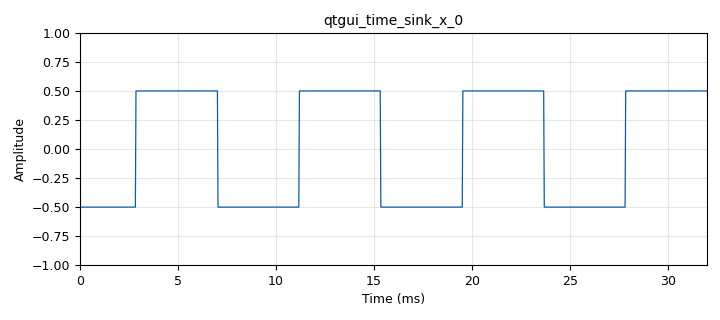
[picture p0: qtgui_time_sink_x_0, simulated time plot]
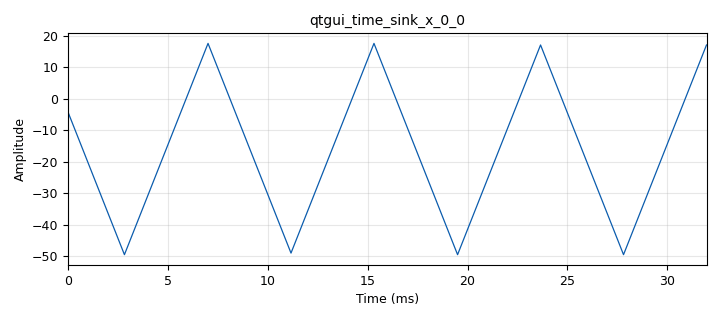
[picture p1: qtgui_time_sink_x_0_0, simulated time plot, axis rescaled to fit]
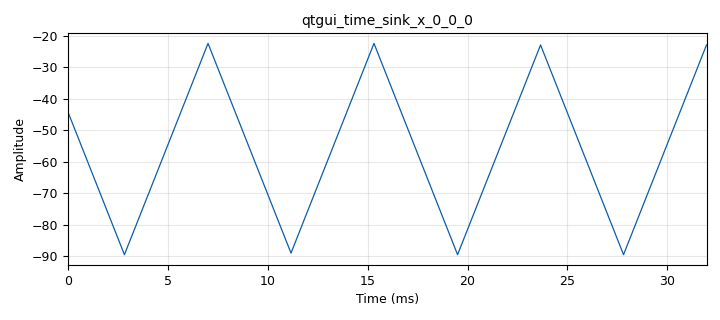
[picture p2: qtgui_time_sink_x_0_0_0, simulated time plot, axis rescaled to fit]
options:
  parameters:
    generate_options: qt_gui
    id: untitled
    output_language: python
    title: Not titled yet
  states: {}

blocks:
- name: samp_rate
  id: variable
  parameters:
    value: '32000'
  states: {}
- name: Media_b
  id: qtgui_number_sink
  parameters:
    graph_type: qtgui.NUM_GRAPH_HORIZ
    name: Media
    type: float
  states: {}
- name: Media_b_0
  id: qtgui_number_sink
  parameters:
    graph_type: qtgui.NUM_GRAPH_HORIZ
    name: Media
    type: float
  states: {}
- name: Media_b_1
  id: qtgui_number_sink
  parameters:
    graph_type: qtgui.NUM_GRAPH_HORIZ
    name: Media
    type: float
  states: {}
- name: analog_sig_source_x_0
  id: analog_sig_source_x
  parameters:
    amp: '1'
    freq: '120'
    offset: '-0.5'
    phase: '0'
    samp_rate: samp_rate
    type: float
    waveform: analog.GR_SQR_WAVE
  states: {}
- name: blocks_throttle2_0
  id: blocks_throttle2
  parameters:
    samples_per_second: samp_rate
    type: float
  states: {}
- name: epy_block_0
  id: epy_block
  parameters:
    _source_code: |-
      import numpy as np
      from gnuradio import gr

      class blk(gr.sync_block): 
          def __init__(self, example_param=1.0):
              gr.sync_block.__init__(
                  self,
                  name='e_Acum',
                  in_sig=[np.float32],
                  out_sig=[np.float32]
              )
          
          def work(self,input_items,output_items):
              x = input_items[0]  
              y0 = output_items[0]  

              y0[:] = np.cumsum(x)

              return len(y0)
    example_param: '1.0'
  states: {}
- name: epy_block_1
  id: epy_block
  parameters:
    _source_code: |-
      import numpy as np
      from gnuradio import gr

      class blk(gr.sync_block): 

          def __init__(self, example_param=2.0):
              gr.sync_block.__init__(
                  self,
                  name='e_Diff',
                  in_sig=[np.float32],
                  out_sig=[np.float32]
              )
              self.e_Acum = 0

          def work(self,input_items,output_items):
              x = input_items[0]  
              y0 = output_items[0]  
              N = len(x)
              diff = np.cumsum(x) - self.e_Acum 
              self.e_Acum = diff[N-1]
              y0[:] = diff 
              return len(y0)
    example_param: '2.0'
  states: {}
- name: epy_block_2
  id: epy_block
  parameters:
    _source_code: |
      import numpy as np
      from gnuradio import gr


      class blk(gr.sync_block):
          def __init__(self, example_param=3.0):
              gr.sync_block.__init__(
                  self,
                  name='Primedios_de_tiempo',
                  in_sig = [np.float32],
                  out_sig = [np.float32,np.float32,np.float32,np.float32,np.float32]
              )
              self.acum_anterior = 0
              self.Ntotales = 0
              self.acum_anterior1 = 0
              self.acum_anterior2 = 0

          def work(self, input_items, output_items):
              x = input_items[0]
              y0 = output_items[0]
              y1 = output_items[1]
              y2 = output_items[2]
              y3 = output_items[3]
              y4 = output_items[4]

              # Calculo del p r o m e d i o

              N = len( x )
              self.Ntotales = self.Ntotales + N
              acumulado = self.acum_anterior + np.cumsum ( x )
              self.acum_anterior = acumulado[N -1]
              y0[:]= acumulado / self.Ntotales

              # Calculo de la media c u a d r a t i c a
              x2 = np.multiply(x , x )
              acumulado1 = self.acum_anterior1 + np.cumsum(x2)
              self.acum_anterior1 = acumulado[N -1]
              y1[:] = acumulado1 / self.Ntotales

              # Calculo de la RMS
              y2[:] = np.sqrt(y1)

              # Calculo de la p o t e n c i a p r o m e d i o
              y3[:] = np.multiply( y2 , y2 )

              # Calculo de la d e s v i a c i o n e s t a n d a r
              x3 = np.multiply(x - y0 ,x - y0 )
              acumulado2 = self.acum_anterior2 + np.cumsum( x3 )
              self.acum_anterior2 = acumulado2[N -1]
              y4[:] = np.sqrt( acumulado2 / self.Ntotales )

              return len( x )
    example_param: '3.0'
  states: {}
- name: epy_block_2_0
  id: epy_block
  parameters:
    _source_code: |
      import numpy as np
      from gnuradio import gr


      class blk(gr.sync_block):
          def __init__(self, example_param=3.0):
              gr.sync_block.__init__(
                  self,
                  name='Primedios_de_tiempo',
                  in_sig = [np.float32],
                  out_sig = [np.float32,np.float32,np.float32,np.float32,np.float32]
              )
              self.acum_anterior = 0
              self.Ntotales = 0
              self.acum_anterior1 = 0
              self.acum_anterior2 = 0

          def work(self, input_items, output_items):
              x = input_items[0]
              y0 = output_items[0]
              y1 = output_items[1]
              y2 = output_items[2]
              y3 = output_items[3]
              y4 = output_items[4]

              # Calculo del p r o m e d i o

              N = len( x )
              self.Ntotales = self.Ntotales + N
              acumulado = self.acum_anterior + np.cumsum ( x )
              self.acum_anterior = acumulado[N -1]
              y0[:]= acumulado / self.Ntotales

              # Calculo de la media c u a d r a t i c a
              x2 = np.multiply(x , x )
              acumulado1 = self.acum_anterior1 + np.cumsum(x2)
              self.acum_anterior1 = acumulado[N -1]
              y1[:] = acumulado1 / self.Ntotales

              # Calculo de la RMS
              y2[:] = np.sqrt(y1)

              # Calculo de la p o t e n c i a p r o m e d i o
              y3[:] = np.multiply( y2 , y2 )

              # Calculo de la d e s v i a c i o n e s t a n d a r
              x3 = np.multiply(x - y0 ,x - y0 )
              acumulado2 = self.acum_anterior2 + np.cumsum( x3 )
              self.acum_anterior2 = acumulado2[N -1]
              y4[:] = np.sqrt( acumulado2 / self.Ntotales )

              return len( x )
    example_param: '3.0'
  states: {}
- name: epy_block_2_1
  id: epy_block
  parameters:
    _source_code: |
      import numpy as np
      from gnuradio import gr


      class blk(gr.sync_block):
          def __init__(self, example_param=3.0):
              gr.sync_block.__init__(
                  self,
                  name='Primedios_de_tiempo',
                  in_sig = [np.float32],
                  out_sig = [np.float32,np.float32,np.float32,np.float32,np.float32]
              )
              self.acum_anterior = 0
              self.Ntotales = 0
              self.acum_anterior1 = 0
              self.acum_anterior2 = 0

          def work(self, input_items, output_items):
              x = input_items[0]
              y0 = output_items[0]
              y1 = output_items[1]
              y2 = output_items[2]
              y3 = output_items[3]
              y4 = output_items[4]

              # Calculo del p r o m e d i o

              N = len( x )
              self.Ntotales = self.Ntotales + N
              acumulado = self.acum_anterior + np.cumsum ( x )
              self.acum_anterior = acumulado[N -1]
              y0[:]= acumulado / self.Ntotales

              # Calculo de la media c u a d r a t i c a
              x2 = np.multiply(x , x )
              acumulado1 = self.acum_anterior1 + np.cumsum(x2)
              self.acum_anterior1 = acumulado[N -1]
              y1[:] = acumulado1 / self.Ntotales

              # Calculo de la RMS
              y2[:] = np.sqrt(y1)

              # Calculo de la p o t e n c i a p r o m e d i o
              y3[:] = np.multiply( y2 , y2 )

              # Calculo de la d e s v i a c i o n e s t a n d a r
              x3 = np.multiply(x - y0 ,x - y0 )
              acumulado2 = self.acum_anterior2 + np.cumsum( x3 )
              self.acum_anterior2 = acumulado2[N -1]
              y4[:] = np.sqrt( acumulado2 / self.Ntotales )

              return len( x )
    example_param: '3.0'
  states: {}
- name: qtgui_number_sink_0_0
  id: qtgui_number_sink
  parameters:
    graph_type: qtgui.NUM_GRAPH_HORIZ
    name: Desviacion Estandar
    type: float
  states: {}
- name: qtgui_number_sink_0_0_0
  id: qtgui_number_sink
  parameters:
    graph_type: qtgui.NUM_GRAPH_HORIZ
    name: Desviacion Estandar
    type: float
  states: {}
- name: qtgui_number_sink_0_0_1
  id: qtgui_number_sink
  parameters:
    graph_type: qtgui.NUM_GRAPH_HORIZ
    name: Desviacion Estandar
    type: float
  states: {}
- name: qtgui_number_sink_0_1
  id: qtgui_number_sink
  parameters:
    graph_type: qtgui.NUM_GRAPH_HORIZ
    name: Potencia Promedio
    type: float
  states: {}
- name: qtgui_number_sink_0_1_0
  id: qtgui_number_sink
  parameters:
    graph_type: qtgui.NUM_GRAPH_HORIZ
    name: Potencia Promedio
    type: float
  states: {}
- name: qtgui_number_sink_0_1_1
  id: qtgui_number_sink
  parameters:
    graph_type: qtgui.NUM_GRAPH_HORIZ
    name: Potencia Promedio
    type: float
  states: {}
- name: qtgui_number_sink_0_2
  id: qtgui_number_sink
  parameters:
    graph_type: qtgui.NUM_GRAPH_HORIZ
    name: Media Cuadratica
    type: float
  states: {}
- name: qtgui_number_sink_0_2_0
  id: qtgui_number_sink
  parameters:
    graph_type: qtgui.NUM_GRAPH_HORIZ
    name: Media Cuadratica
    type: float
  states: {}
- name: qtgui_number_sink_0_2_1
  id: qtgui_number_sink
  parameters:
    graph_type: qtgui.NUM_GRAPH_HORIZ
    name: Media Cuadratica
    type: float
  states: {}
- name: qtgui_number_sink_0_3
  id: qtgui_number_sink
  parameters:
    graph_type: qtgui.NUM_GRAPH_HORIZ
    name: RMS
    type: float
  states: {}
- name: qtgui_number_sink_0_3_0
  id: qtgui_number_sink
  parameters:
    graph_type: qtgui.NUM_GRAPH_HORIZ
    name: RMS
    type: float
  states: {}
- name: qtgui_number_sink_0_3_1
  id: qtgui_number_sink
  parameters:
    graph_type: qtgui.NUM_GRAPH_HORIZ
    name: RMS
    type: float
  states: {}
- name: qtgui_time_sink_x_0
  id: qtgui_time_sink_x
  parameters:
    size: '1024'
    srate: samp_rate
    type: float
  states: {}
- name: qtgui_time_sink_x_0_0
  id: qtgui_time_sink_x
  parameters:
    size: '1024'
    srate: samp_rate
    type: float
  states: {}
- name: qtgui_time_sink_x_0_0_0
  id: qtgui_time_sink_x
  parameters:
    size: '1024'
    srate: samp_rate
    type: float
  states: {}

connections:
- [analog_sig_source_x_0, '0', blocks_throttle2_0, '0']
- [blocks_throttle2_0, '0', epy_block_0, '0']
- [blocks_throttle2_0, '0', epy_block_1, '0']
- [blocks_throttle2_0, '0', epy_block_2, '0']
- [blocks_throttle2_0, '0', qtgui_time_sink_x_0, '0']
- [epy_block_0, '0', epy_block_2_0, '0']
- [epy_block_0, '0', qtgui_time_sink_x_0_0, '0']
- [epy_block_1, '0', epy_block_2_1, '0']
- [epy_block_1, '0', qtgui_time_sink_x_0_0_0, '0']
- [epy_block_2, '0', Media_b, '0']
- [epy_block_2, '1', qtgui_number_sink_0_2, '0']
- [epy_block_2, '2', qtgui_number_sink_0_3, '0']
- [epy_block_2, '3', qtgui_number_sink_0_1, '0']
- [epy_block_2, '4', qtgui_number_sink_0_0, '0']
- [epy_block_2_0, '0', Media_b_0, '0']
- [epy_block_2_0, '1', qtgui_number_sink_0_2_0, '0']
- [epy_block_2_0, '2', qtgui_number_sink_0_3_0, '0']
- [epy_block_2_0, '3', qtgui_number_sink_0_1_0, '0']
- [epy_block_2_0, '4', qtgui_number_sink_0_0_0, '0']
- [epy_block_2_1, '0', Media_b_1, '0']
- [epy_block_2_1, '1', qtgui_number_sink_0_2_1, '0']
- [epy_block_2_1, '2', qtgui_number_sink_0_3_1, '0']
- [epy_block_2_1, '3', qtgui_number_sink_0_1_1, '0']
- [epy_block_2_1, '4', qtgui_number_sink_0_0_1, '0']

metadata:
  file_format: 1
  grc_version: 3.10.11.0
